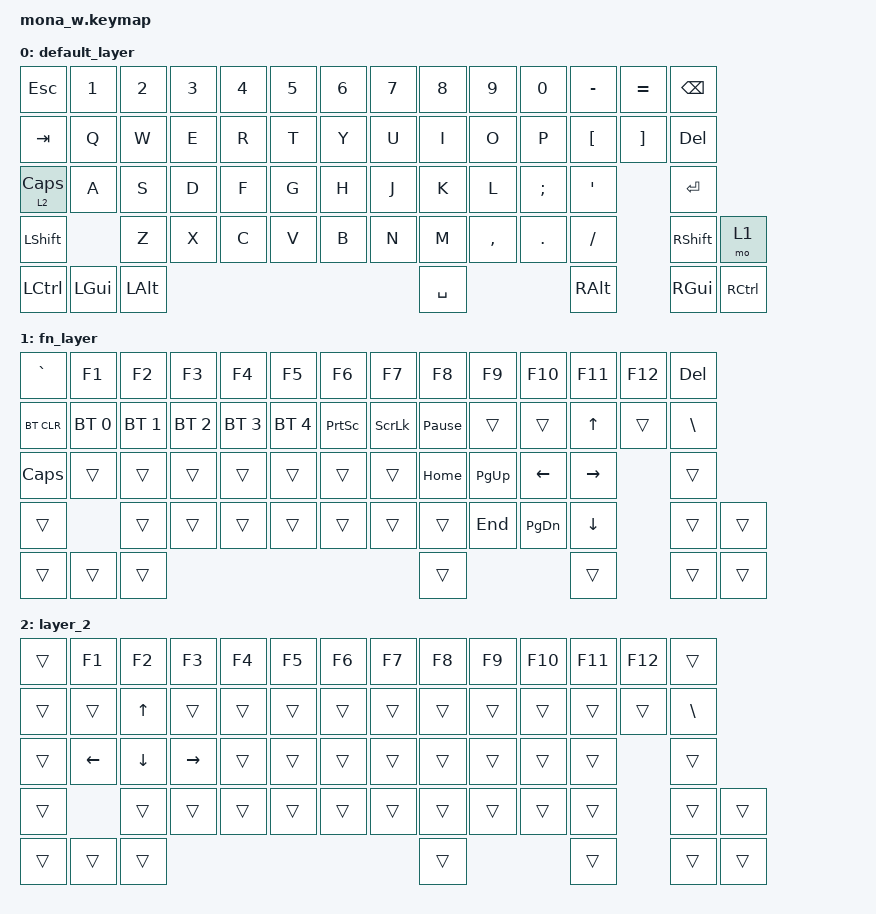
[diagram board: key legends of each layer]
/*
 * Copyright (c) 2023 Ramon Imbao
 *
 * SPDX-License-Identifier: MIT
 */

#include <behaviors.dtsi>
#include <dt-bindings/zmk/bt.h>
#include <dt-bindings/zmk/keys.h>

/ {
    keymap {
        compatible = "zmk,keymap";

        default_layer {
            bindings = <
&kp ESC     &kp N1    &kp N2    &kp N3  &kp N4  &kp N5  &kp N6  &kp N7  &kp N8     &kp N9     &kp N0    &kp MINUS  &kp EQUAL  &kp BSPC
&kp TAB     &kp Q     &kp W     &kp E   &kp R   &kp T   &kp Y   &kp U   &kp I      &kp O      &kp P     &kp LBKT   &kp RBKT              &kp DEL
&lt 2 CAPS  &kp A     &kp S     &kp D   &kp F   &kp G   &kp H   &kp J   &kp K      &kp L      &kp SEMI  &kp APOS              &kp ENTER
&kp LSHFT             &kp Z     &kp X   &kp C   &kp V   &kp B   &kp N   &kp M      &kp COMMA  &kp DOT   &kp SLASH             &kp RSHFT  &mo 1
&kp LCTRL   &kp LGUI  &kp LALT                                          &kp SPACE                       &kp RALT              &kp RGUI   &kp RCTRL
            >;
        };

        fn_layer {
            bindings = <
&kp GRAVE   &kp F1        &kp F2        &kp F3        &kp F4        &kp F5        &kp F6     &kp F7    &kp F8           &kp F9     &kp F10    &kp F11    &kp F12  &kp DELETE
&bt BT_CLR  &bt BT_SEL 0  &bt BT_SEL 1  &bt BT_SEL 2  &bt BT_SEL 3  &bt BT_SEL 4  &kp PSCRN  &kp SLCK  &kp PAUSE_BREAK  &trans     &trans     &kp UP     &trans               &kp BACKSLASH
&kp CAPS    &trans        &trans        &trans        &trans        &trans        &trans     &trans    &kp HOME         &kp PG_UP  &kp LEFT   &kp RIGHT           &trans
&trans                    &trans        &trans        &trans        &trans        &trans     &trans    &trans           &kp END    &kp PG_DN  &kp DOWN            &trans      &trans
&trans      &trans        &trans                                                                       &trans                                 &trans              &trans      &trans
            >;
        };

        layer_2 {
            bindings = <
&trans  &kp F1          &kp F2          &kp F3           &kp F4  &kp F5  &kp F6  &kp F7  &kp F8  &kp F9  &kp F10  &kp F11  &kp F12  &trans
&trans  &trans          &kp UP_ARROW    &trans           &trans  &trans  &trans  &trans  &trans  &trans  &trans   &trans   &trans           &kp BACKSLASH
&trans  &kp LEFT_ARROW  &kp DOWN_ARROW  &kp RIGHT_ARROW  &trans  &trans  &trans  &trans  &trans  &trans  &trans   &trans            &trans
&trans                  &trans          &trans           &trans  &trans  &trans  &trans  &trans  &trans  &trans   &trans            &trans  &trans
&trans  &trans          &trans                                                           &trans                   &trans            &trans  &trans
            >;
        };
    };
};
